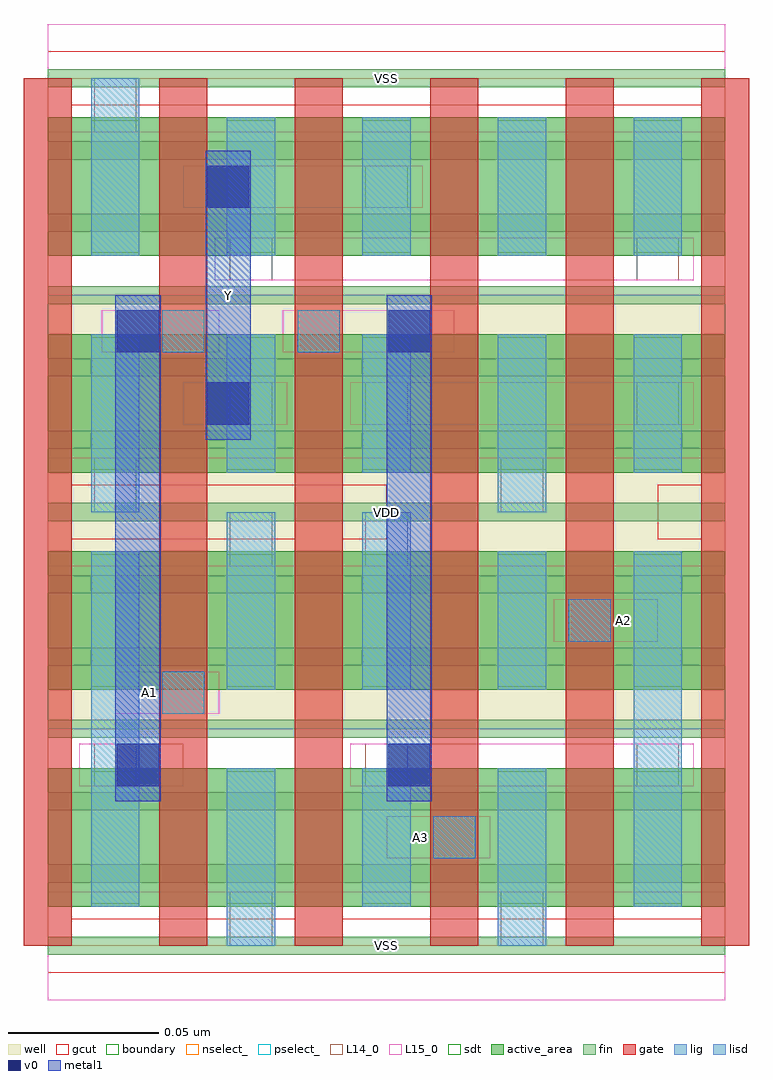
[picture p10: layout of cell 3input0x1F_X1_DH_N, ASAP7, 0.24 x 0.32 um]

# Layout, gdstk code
import gdstk
lib = gdstk.Library(unit=1e-6, precision=2.5e-10)
def R(c, l, rs):  # rectangles x0, y0, x1, y1
    for r in rs: c.add(gdstk.rectangle(r[:2], r[2:], *l))
def A(c, l, x, y, w, h, nx, ny, dx, dy):  # array of equal rectangles
    R(c, l, [(x+i*dx, y+j*dy, x+i*dx+w, y+j*dy+h) for i in range(nx) for j in range(ny)])
def P(c, l, *ps):  # polygons
    for p in ps: c.add(gdstk.Polygon(p, *l))
well = (1, 0)
fin = (2, 0)
gate = (7, 0)
gcut = (10, 0)
active_area = (11, 0)
nselect_ = (12, 0)
pselect_ = (13, 0)
L14_0 = (14, 0)
L15_0 = (15, 0)
lig = (16, 0)
lisd = (17, 0)
v0 = (18, 0)
metal1 = (19, 0)
sdt = (88, 0)
boundary = (100, 0)

c_3input0x1f_x1_dh_n = lib.new_cell('3input0x1F_X1_DH_N')
R(c_3input0x1f_x1_dh_n, well, [(0,0.072,0.225,0.144), (0,0.144,0.225,0.216)])
A(c_3input0x1f_x1_dh_n, fin, 0, -0.003, 0.225, 0.006, 1, 13, 0, 0.024)
A(c_3input0x1f_x1_dh_n, gate, -0.008, 0, 0.016, 0.288, 6, 1, 0.045, 0)
P(c_3input0x1f_x1_dh_n, gcut, [(0,-0.009),(0,0),(-0.008,0),(-0.008,0.135),(0.008,0.135),(0.008,0.009),(0.082,0.009),(0.082,0.135),(-0.008,0.135),(-0.008,0.279),(0.008,0.279),(0.008,0.153),(0.1125,0.153),(0.1125,0.135),(0.098,0.135),(0.098,0.009),(0.217,0.009),(0.217,0.135),(0.2025,0.135),(0.2025,0.153),(0.217,0.153),(0.217,0.279),(-0.008,0.279),(-0.008,0.288),(0,0.288),(0,0.297),(0.225,0.297),(0.225,0.288),(0.233,0.288),(0.233,0),(0.225,0),(0.225,-0.009)])
A(c_3input0x1f_x1_dh_n, active_area, 0, 0.013, 0.225, 0.046, 1, 4, 0, 0.072)
R(c_3input0x1f_x1_dh_n, nselect_, [(0,0,0.225,0.072), (0,0.216,0.225,0.288)])
R(c_3input0x1f_x1_dh_n, pselect_, [(0,0.072,0.225,0.144), (0,0.144,0.225,0.216)])
A(c_3input0x1f_x1_dh_n, L14_0, 0.0155, 0.053, 0.014, 0.014, 3, 1, 0.09, 0)
R(c_3input0x1f_x1_dh_n, L14_0, [(0.0605,0,0.0745,0.018), (0.1505,0,0.1645,0.018), (0.128,0.029,0.142,0.043), (0.038,0.077,0.052,0.091), (0.173,0.101,0.187,0.115), (0.0605,0.126,0.0745,0.144), (0.1055,0.126,0.1195,0.144), (0.0155,0.144,0.0295,0.162), (0.1505,0.144,0.1645,0.162), (0.0605,0.173,0.0745,0.187), (0.1055,0.173,0.1195,0.187), (0.1955,0.173,0.2095,0.187), (0.038,0.197,0.052,0.211), (0.083,0.197,0.097,0.211), (0.0605,0.221,0.0745,0.235), (0.1955,0.221,0.2095,0.235), (0.1055,0.245,0.1195,0.259), (0.0155,0.27,0.0295,0.288)])
A(c_3input0x1f_x1_dh_n, L15_0, 0, -0.018, 0.225, 0.036, 1, 3, 0, 0.144)
R(c_3input0x1f_x1_dh_n, L15_0, [(0.1125,0.029,0.147,0.043), (0.0105,0.053,0.045,0.067), (0.1005,0.053,0.2145,0.067), (0.0225,0.077,0.057,0.091), (0.168,0.101,0.2025,0.115), (0.045,0.173,0.0795,0.187), (0.1005,0.173,0.2145,0.187), (0.018,0.197,0.057,0.211), (0.078,0.197,0.135,0.211), (0.0555,0.221,0.2145,0.235), (0.045,0.245,0.1245,0.259)])
R(c_3input0x1f_x1_dh_n, lig, [(0.128,0.029,0.142,0.043), (0.038,0.077,0.052,0.091), (0.173,0.101,0.187,0.115), (0.038,0.197,0.052,0.211), (0.083,0.197,0.097,0.211)])
A(c_3input0x1f_x1_dh_n, lisd, 0.0595, 0.229, 0.016, 0.046, 4, 1, 0.045, 0)
R(c_3input0x1f_x1_dh_n, lisd, [(0.0595,0,0.0755,0.059), (0.1495,0,0.1655,0.059), (0.0145,0.013,0.0305,0.131), (0.1045,0.013,0.1205,0.059), (0.1945,0.013,0.2105,0.131), (0.0595,0.085,0.0755,0.144), (0.1045,0.085,0.1205,0.144), (0.1495,0.085,0.1655,0.131), (0.0145,0.144,0.0305,0.203), (0.1495,0.144,0.1655,0.203), (0.0595,0.157,0.0755,0.203), (0.1045,0.157,0.1205,0.203), (0.1945,0.157,0.2105,0.203), (0.0145,0.229,0.0305,0.288)])
R(c_3input0x1f_x1_dh_n, v0, [(0.023,0.053,0.037,0.067), (0.113,0.053,0.127,0.067), (0.053,0.173,0.067,0.187), (0.023,0.197,0.037,0.211), (0.113,0.197,0.127,0.211), (0.053,0.245,0.067,0.259)])
R(c_3input0x1f_x1_dh_n, metal1, [(0.0225,0.048,0.0375,0.216), (0.1125,0.048,0.1275,0.216), (0.0525,0.168,0.0675,0.264)])
A(c_3input0x1f_x1_dh_n, sdt, 0.0145, 0.014, 0.016, 0.044, 5, 4, 0.045, 0.072)
R(c_3input0x1f_x1_dh_n, boundary, [(0,0,0.225,0.288)])
c_3input0x1f_x1_dh_n.add(gdstk.Label('A3', (0.1238,0.036), layer=15, texttype=251))
c_3input0x1f_x1_dh_n.add(gdstk.Label('VSS', (0.1125,0), layer=15, texttype=251))
c_3input0x1f_x1_dh_n.add(gdstk.Label('VDD', (0.1125,0.144), layer=15, texttype=251))
c_3input0x1f_x1_dh_n.add(gdstk.Label('VDD', (0.1125,0.144), layer=15, texttype=251))
c_3input0x1f_x1_dh_n.add(gdstk.Label('VSS', (0.1125,0.288), layer=15, texttype=251))
c_3input0x1f_x1_dh_n.add(gdstk.Label('VSS', (0.1125,0), layer=15, texttype=251))
c_3input0x1f_x1_dh_n.add(gdstk.Label('VDD', (0.1125,0.144), layer=15, texttype=251))
c_3input0x1f_x1_dh_n.add(gdstk.Label('VDD', (0.1125,0.144), layer=15, texttype=251))
c_3input0x1f_x1_dh_n.add(gdstk.Label('VSS', (0.1125,0.288), layer=15, texttype=251))
c_3input0x1f_x1_dh_n.add(gdstk.Label('A2', (0.1913,0.108), layer=15, texttype=251))
c_3input0x1f_x1_dh_n.add(gdstk.Label('VSS', (0.1125,0), layer=15, texttype=251))
c_3input0x1f_x1_dh_n.add(gdstk.Label('VDD', (0.1125,0.144), layer=15, texttype=251))
c_3input0x1f_x1_dh_n.add(gdstk.Label('VDD', (0.1125,0.144), layer=15, texttype=251))
c_3input0x1f_x1_dh_n.add(gdstk.Label('VSS', (0.1125,0.288), layer=15, texttype=251))
c_3input0x1f_x1_dh_n.add(gdstk.Label('A1', (0.0338,0.084), layer=15, texttype=251))
c_3input0x1f_x1_dh_n.add(gdstk.Label('VSS', (0.1125,0), layer=15, texttype=251))
c_3input0x1f_x1_dh_n.add(gdstk.Label('VDD', (0.1125,0.144), layer=15, texttype=251))
c_3input0x1f_x1_dh_n.add(gdstk.Label('VDD', (0.1125,0.144), layer=15, texttype=251))
c_3input0x1f_x1_dh_n.add(gdstk.Label('VSS', (0.1125,0.288), layer=15, texttype=251))
c_3input0x1f_x1_dh_n.add(gdstk.Label('VSS', (0.1125,0), layer=3, texttype=251))
c_3input0x1f_x1_dh_n.add(gdstk.Label('VSS', (0.1125,0.288), layer=3, texttype=251))
c_3input0x1f_x1_dh_n.add(gdstk.Label('VSS', (0.1125,0), layer=3, texttype=251))
c_3input0x1f_x1_dh_n.add(gdstk.Label('VSS', (0.1125,0.288), layer=3, texttype=251))
c_3input0x1f_x1_dh_n.add(gdstk.Label('VSS', (0.1125,0), layer=3, texttype=251))
c_3input0x1f_x1_dh_n.add(gdstk.Label('VSS', (0.1125,0.288), layer=3, texttype=251))
c_3input0x1f_x1_dh_n.add(gdstk.Label('VSS', (0.1125,0), layer=3, texttype=251))
c_3input0x1f_x1_dh_n.add(gdstk.Label('VSS', (0.1125,0.288), layer=3, texttype=251))
c_3input0x1f_x1_dh_n.add(gdstk.Label('VDD', (0.1125,0.144), layer=1, texttype=251))
c_3input0x1f_x1_dh_n.add(gdstk.Label('VDD', (0.1125,0.144), layer=1, texttype=251))
c_3input0x1f_x1_dh_n.add(gdstk.Label('VDD', (0.1125,0.144), layer=1, texttype=251))
c_3input0x1f_x1_dh_n.add(gdstk.Label('VDD', (0.1125,0.144), layer=1, texttype=251))
c_3input0x1f_x1_dh_n.add(gdstk.Label('VDD', (0.1125,0.144), layer=1, texttype=251))
c_3input0x1f_x1_dh_n.add(gdstk.Label('VDD', (0.1125,0.144), layer=1, texttype=251))
c_3input0x1f_x1_dh_n.add(gdstk.Label('VDD', (0.1125,0.144), layer=1, texttype=251))
c_3input0x1f_x1_dh_n.add(gdstk.Label('VDD', (0.1125,0.144), layer=1, texttype=251))
c_3input0x1f_x1_dh_n.add(gdstk.Label('Y', (0.06,0.216), layer=19, texttype=251))

lib.write_gds('3input0x1F_X1_DH_N.gds')
